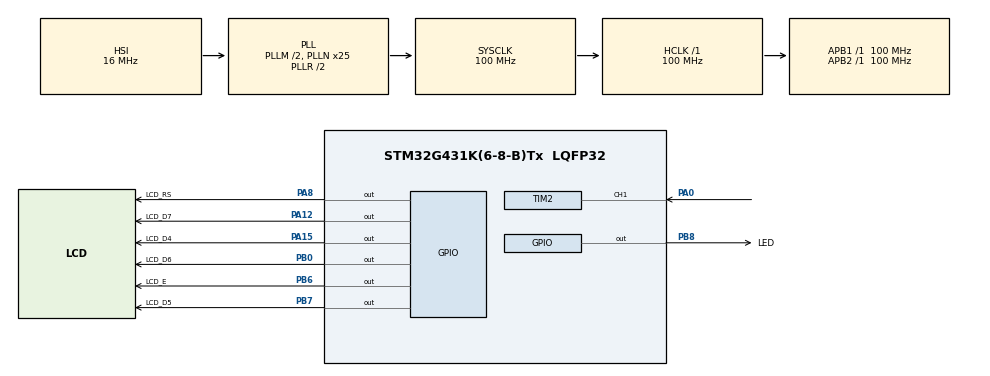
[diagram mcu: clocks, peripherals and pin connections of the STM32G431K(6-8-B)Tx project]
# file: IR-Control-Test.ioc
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Dma.Request0=TIM2_CH1
Dma.TIM2_CH1.0.Direction=DMA_PERIPH_TO_MEMORY
Dma.TIM2_CH1.0.EventEnable=DISABLE
Dma.TIM2_CH1.0.Instance=DMA1_Channel1
Dma.TIM2_CH1.0.MemDataAlignment=DMA_MDATAALIGN_WORD
Dma.TIM2_CH1.0.MemInc=DMA_MINC_ENABLE
Dma.TIM2_CH1.0.Mode=DMA_NORMAL
Dma.TIM2_CH1.0.PeriphDataAlignment=DMA_PDATAALIGN_WORD
Dma.TIM2_CH1.0.PeriphInc=DMA_PINC_DISABLE
Dma.TIM2_CH1.0.Polarity=HAL_DMAMUX_REQ_GEN_RISING
Dma.TIM2_CH1.0.Priority=DMA_PRIORITY_LOW
Dma.TIM2_CH1.0.RequestNumber=1
Dma.TIM2_CH1.0.SignalID=NONE
Dma.TIM2_CH1.0.SyncEnable=DISABLE
Dma.TIM2_CH1.0.SyncPolarity=HAL_DMAMUX_SYNC_NO_EVENT
Dma.TIM2_CH1.0.SyncRequestNumber=1
Dma.TIM2_CH1.0.SyncSignalID=NONE
Mcu.Family=STM32G4
Mcu.Name=STM32G431K(6-8-B)Tx
Mcu.Package=LQFP32
NVIC.DMA1_Channel1_IRQn=true\:0\:0\:false\:false\:true\:false\:true\:true
NVIC.PriorityGroup=NVIC_PRIORITYGROUP_4
NVIC.TIM2_IRQn=true\:0\:0\:false\:false\:true\:true\:true\:true
PA0.Signal=S_TIM2_CH1
PA12.GPIO_Label=LCD_D7
PA12.GPIO_ModeDefaultOutputPP=GPIO_MODE_OUTPUT_PP
PA12.GPIO_PuPd=GPIO_NOPULL
PA12.GPIO_Speed=GPIO_SPEED_FREQ_VERY_HIGH
PA12.PinState=GPIO_PIN_RESET
PA12.Signal=GPIO_Output
PA13.Mode=Serial_Wire
PA13.Signal=SYS_JTMS-SWDIO
PA14.Mode=Serial_Wire
PA14.Signal=SYS_JTCK-SWCLK
PA15.GPIO_Label=LCD_D4
PA15.GPIO_ModeDefaultOutputPP=GPIO_MODE_OUTPUT_PP
PA15.GPIO_PuPd=GPIO_NOPULL
PA15.GPIO_Speed=GPIO_SPEED_FREQ_VERY_HIGH
PA15.PinState=GPIO_PIN_RESET
PA15.Signal=GPIO_Output
PA8.GPIO_Label=LCD_RS
PA8.GPIO_Speed=GPIO_SPEED_FREQ_VERY_HIGH
PA8.Signal=GPIO_Output
PB0.GPIO_Label=LCD_D6
PB0.GPIO_ModeDefaultOutputPP=GPIO_MODE_OUTPUT_PP
PB0.GPIO_PuPd=GPIO_NOPULL
PB0.GPIO_Speed=GPIO_SPEED_FREQ_VERY_HIGH
PB0.PinState=GPIO_PIN_RESET
PB0.Signal=GPIO_Output
PB6.GPIO_Label=LCD_E
PB6.GPIO_ModeDefaultOutputPP=GPIO_MODE_OUTPUT_PP
PB6.GPIO_PuPd=GPIO_NOPULL
PB6.GPIO_Speed=GPIO_SPEED_FREQ_VERY_HIGH
PB6.PinState=GPIO_PIN_RESET
PB6.Signal=GPIO_Output
PB7.GPIO_Label=LCD_D5
PB7.GPIO_ModeDefaultOutputPP=GPIO_MODE_OUTPUT_PP
PB7.GPIO_PuPd=GPIO_NOPULL
PB7.GPIO_Speed=GPIO_SPEED_FREQ_VERY_HIGH
PB7.PinState=GPIO_PIN_RESET
PB7.Signal=GPIO_Output
PB8-BOOT0.GPIO_Label=LED
PB8-BOOT0.Signal=GPIO_Output
ProjectManager.HeapSize=0x200
ProjectManager.StackSize=0x400
ProjectManager.TargetToolchain=STM32CubeIDE
RCC.ADC12Freq_Value=100000000
RCC.AHBFreq_Value=100000000
RCC.APB1Freq_Value=100000000
RCC.APB1TimFreq_Value=100000000
RCC.APB2Freq_Value=100000000
RCC.APB2TimFreq_Value=100000000
RCC.CortexFreq_Value=100000000
RCC.EXTERNAL_CLOCK_VALUE=12288000
RCC.HCLKFreq_Value=100000000
RCC.HSE_VALUE=24000000
RCC.HSI48_VALUE=48000000
RCC.HSI_VALUE=16000000
RCC.LSE_VALUE=32768
RCC.PLLM=RCC_PLLM_DIV2
RCC.PLLN=25
RCC.SYSCLKFreq_VALUE=100000000
RCC.SYSCLKSource=RCC_SYSCLKSOURCE_PLLCLK
RCC.USBFreq_Value=100000000
RCC.VCOOutputFreq_Value=200000000
SH.S_TIM2_CH1.0=TIM2_CH1,Input_Capture1_from_TI1
SH.S_TIM2_CH1.1=TIM2_CH1,TriggerSource_TI1FP1
TIM2.Channel-Input_Capture1_from_TI1=TIM_CHANNEL_1
TIM2.ICFilter_CH1=4
TIM2.ICPolarity_CH1=TIM_INPUTCHANNELPOLARITY_FALLING
TIM2.Prescaler=99
VP_TIM2_VS_ClockSourceINT.Mode=Internal
VP_TIM2_VS_ControllerModeReset.Mode=Reset Mode
board=custom

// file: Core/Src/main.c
/* USER CODE BEGIN Header */
/**
  ******************************************************************************
  * @file           : main.c
  * @brief          : Main program body
  ******************************************************************************
  * @attention
  *
  * Copyright (c) 2024 STMicroelectronics.
  * All rights reserved.
  *
  * This software is licensed under terms that can be found in the LICENSE file
  * in the root directory of this software component.
  * If no LICENSE file comes with this software, it is provided AS-IS.
  *
  ******************************************************************************
  */
/* USER CODE END Header */
#include "main.h"

/* USER CODE BEGIN Includes */
#include <string.h>
#include <stdio.h>

#include "NEC_Decode.h"
#include "lcdDisplay.h"
/* USER CODE END Includes */

TIM_HandleTypeDef htim2;
DMA_HandleTypeDef hdma_tim2_ch1;

/* USER CODE BEGIN PV */
NEC nec;
lcd_t Lcd;

uint8_t flagRec = 0;
uint16_t IRAddress;
uint8_t IRCommand;
/* USER CODE END PV */

void SystemClock_Config(void);
static void MX_GPIO_Init(void);
static void MX_DMA_Init(void);
static void MX_TIM2_Init(void);

/* USER CODE BEGIN 0 */

/* Callbacks */

void HAL_TIM_IC_CaptureCallback(TIM_HandleTypeDef *htim){
	NEC_TIM_IC_CaptureCallback(&nec);
}

void NecDecodeCallback (uint16_t address, uint8_t cmd){
	flagRec = 1;
	HAL_GPIO_WritePin(LED_GPIO_Port, LED_Pin, GPIO_PIN_SET);
	IRAddress = address;
	IRCommand = cmd;
	NEC_Read(&nec);
}

void NecErrorCallback(){
	NEC_Read(&nec);
}

void NecRepeatCallback(){
	flagRec = 1;
	HAL_GPIO_WritePin(LED_GPIO_Port, LED_Pin, GPIO_PIN_SET);
	NEC_Read(&nec);
}

/* Auxiliary Fxns */
void Nec_IC_Start(uint32_t *Arr, uint8_t len){
	HAL_TIM_IC_Start_DMA(&htim2, TIM_CHANNEL_1, Arr, len);
}

void Nec_IC_Stop(){
	HAL_TIM_IC_Stop(&htim2, TIM_CHANNEL_1);
}

/* Init Functions */

void _init_nec(){
	  nec.timingAgcBoundary = 12500;
	  nec.timingBitBoundary = 1687;
	  nec.type = NEC_EXTENDED;

	  nec.NEC_DecodedCallback = NecDecodeCallback;
	  nec.NEC_ErrorCallback = NecErrorCallback;
	  nec.NEC_RepeatCallback = NecRepeatCallback;

	  nec.NEC_InCapt_Start = Nec_IC_Start;
	  nec.NEC_InCapt_Stop = Nec_IC_Stop;

	  NEC_Init(&nec);
	  NEC_Read(&nec);
}

void _init_lcd(){
	Lcd.columns = 16;
	Lcd.rows = 2;
	Lcd.font = LCD_FONT_5X8;
	Lcd.interface = LCD_INTERFACE_4BIT;

	Lcd.gpios[LCD_RS].GPIO = (uint32_t)LCD_RS_GPIO_Port;
	Lcd.gpios[LCD_RS].pin = LCD_RS_Pin;
	Lcd.gpios[LCD_E].GPIO = (uint32_t)LCD_E_GPIO_Port;
	Lcd.gpios[LCD_E].pin = LCD_E_Pin;
	Lcd.gpios[LCD_D4].GPIO = (uint32_t)LCD_D4_GPIO_Port;
	Lcd.gpios[LCD_D4].pin = LCD_D4_Pin;
	Lcd.gpios[LCD_D5].GPIO = (uint32_t)LCD_D5_GPIO_Port;
	Lcd.gpios[LCD_D5].pin = LCD_D5_Pin;
	Lcd.gpios[LCD_D6].GPIO = (uint32_t)LCD_D6_GPIO_Port;
	Lcd.gpios[LCD_D6].pin = LCD_D6_Pin;
	Lcd.gpios[LCD_D7].GPIO = (uint32_t)LCD_D7_GPIO_Port;
	Lcd.gpios[LCD_D7].pin = LCD_D7_Pin;

	lcd_init(&Lcd);
	lcd_send_string_pos(&Lcd, "IR Remote", 0, 0);
}

/* USER CODE END 0 */

int main(void)
{
  /* USER CODE BEGIN 1 */
	char Text[21];
  /* USER CODE END 1 */

  /* MCU Configuration--------------------------------------------------------*/

  /* Reset of all peripherals, Initializes the Flash interface and the Systick. */
  HAL_Init();

  /* Configure the system clock */
  SystemClock_Config();

  /* Initialize all configured peripherals */
  MX_GPIO_Init();
  MX_DMA_Init();
  MX_TIM2_Init();
  /* USER CODE BEGIN 2 */
  _init_lcd();
  _init_nec();

  /* USER CODE END 2 */

  /* Infinite loop */
  /* USER CODE BEGIN WHILE */
  while (1)
  {
	  if (flagRec == 1){
		  flagRec = 0;
		  // TODO Implement LCD Display;
		  sprintf(Text, "A: 0x%04X C: %02d", IRAddress, IRCommand);
		  lcd_send_string_pos(&Lcd, Text, 1, 0);

		  HAL_Delay(50);
		  HAL_GPIO_WritePin(LED_GPIO_Port, LED_Pin, GPIO_PIN_RESET);
	  }
    /* USER CODE END WHILE */

  }
}

void SystemClock_Config(void)
{
  RCC_OscInitTypeDef RCC_OscInitStruct = {0};
  RCC_ClkInitTypeDef RCC_ClkInitStruct = {0};

  /** Configure the main internal regulator output voltage
  */
  HAL_PWREx_ControlVoltageScaling(PWR_REGULATOR_VOLTAGE_SCALE1);

  /** Initializes the RCC Oscillators according to the specified parameters
  * in the RCC_OscInitTypeDef structure.
  */
  RCC_OscInitStruct.OscillatorType = RCC_OSCILLATORTYPE_HSI;
  RCC_OscInitStruct.HSIState = RCC_HSI_ON;
  RCC_OscInitStruct.HSICalibrationValue = RCC_HSICALIBRATION_DEFAULT;
  RCC_OscInitStruct.PLL.PLLState = RCC_PLL_ON;
  RCC_OscInitStruct.PLL.PLLSource = RCC_PLLSOURCE_HSI;
  RCC_OscInitStruct.PLL.PLLM = RCC_PLLM_DIV2;
  RCC_OscInitStruct.PLL.PLLN = 25;
  RCC_OscInitStruct.PLL.PLLP = RCC_PLLP_DIV2;
  RCC_OscInitStruct.PLL.PLLQ = RCC_PLLQ_DIV2;
  RCC_OscInitStruct.PLL.PLLR = RCC_PLLR_DIV2;
  if (HAL_RCC_OscConfig(&RCC_OscInitStruct) != HAL_OK)
  {
    Error_Handler();
  }

  /** Initializes the CPU, AHB and APB buses clocks
  */
  RCC_ClkInitStruct.ClockType = RCC_CLOCKTYPE_HCLK|RCC_CLOCKTYPE_SYSCLK
                              |RCC_CLOCKTYPE_PCLK1|RCC_CLOCKTYPE_PCLK2;
  RCC_ClkInitStruct.SYSCLKSource = RCC_SYSCLKSOURCE_PLLCLK;
  RCC_ClkInitStruct.AHBCLKDivider = RCC_SYSCLK_DIV1;
  RCC_ClkInitStruct.APB1CLKDivider = RCC_HCLK_DIV1;
  RCC_ClkInitStruct.APB2CLKDivider = RCC_HCLK_DIV1;

  if (HAL_RCC_ClockConfig(&RCC_ClkInitStruct, FLASH_LATENCY_3) != HAL_OK)
  {
    Error_Handler();
  }
}

static void MX_TIM2_Init(void)
{

  TIM_ClockConfigTypeDef sClockSourceConfig = {0};
  TIM_SlaveConfigTypeDef sSlaveConfig = {0};
  TIM_MasterConfigTypeDef sMasterConfig = {0};
  TIM_IC_InitTypeDef sConfigIC = {0};

  htim2.Instance = TIM2;
  htim2.Init.Prescaler = 99;
  htim2.Init.CounterMode = TIM_COUNTERMODE_UP;
  htim2.Init.Period = 4.294967295E9;
  htim2.Init.ClockDivision = TIM_CLOCKDIVISION_DIV1;
  htim2.Init.AutoReloadPreload = TIM_AUTORELOAD_PRELOAD_DISABLE;
  if (HAL_TIM_Base_Init(&htim2) != HAL_OK)
  {
    Error_Handler();
  }
  sClockSourceConfig.ClockSource = TIM_CLOCKSOURCE_INTERNAL;
  if (HAL_TIM_ConfigClockSource(&htim2, &sClockSourceConfig) != HAL_OK)
  {
    Error_Handler();
  }
  if (HAL_TIM_IC_Init(&htim2) != HAL_OK)
  {
    Error_Handler();
  }
  sSlaveConfig.SlaveMode = TIM_SLAVEMODE_RESET;
  sSlaveConfig.InputTrigger = TIM_TS_TI1FP1;
  sSlaveConfig.TriggerPolarity = TIM_INPUTCHANNELPOLARITY_FALLING;
  sSlaveConfig.TriggerFilter = 0;
  if (HAL_TIM_SlaveConfigSynchro(&htim2, &sSlaveConfig) != HAL_OK)
  {
    Error_Handler();
  }
  sMasterConfig.MasterOutputTrigger = TIM_TRGO_RESET;
  sMasterConfig.MasterSlaveMode = TIM_MASTERSLAVEMODE_DISABLE;
  if (HAL_TIMEx_MasterConfigSynchronization(&htim2, &sMasterConfig) != HAL_OK)
  {
    Error_Handler();
  }
  sConfigIC.ICPolarity = TIM_INPUTCHANNELPOLARITY_FALLING;
  sConfigIC.ICSelection = TIM_ICSELECTION_DIRECTTI;
  sConfigIC.ICPrescaler = TIM_ICPSC_DIV1;
  sConfigIC.ICFilter = 4;
  if (HAL_TIM_IC_ConfigChannel(&htim2, &sConfigIC, TIM_CHANNEL_1) != HAL_OK)
  {
    Error_Handler();
  }

}

static void MX_DMA_Init(void)
{

  /* DMA controller clock enable */
  __HAL_RCC_DMAMUX1_CLK_ENABLE();
  __HAL_RCC_DMA1_CLK_ENABLE();

  /* DMA interrupt init */
  /* DMA1_Channel1_IRQn interrupt configuration */
  HAL_NVIC_SetPriority(DMA1_Channel1_IRQn, 0, 0);
  HAL_NVIC_EnableIRQ(DMA1_Channel1_IRQn);

}

static void MX_GPIO_Init(void)
{
  GPIO_InitTypeDef GPIO_InitStruct = {0};

  /* GPIO Ports Clock Enable */
  __HAL_RCC_GPIOA_CLK_ENABLE();
  __HAL_RCC_GPIOB_CLK_ENABLE();

  /*Configure GPIO pin Output Level */
  HAL_GPIO_WritePin(GPIOB, LCD_D6_Pin|LCD_E_Pin|LCD_D5_Pin|LED_Pin, GPIO_PIN_RESET);

  /*Configure GPIO pin Output Level */
  HAL_GPIO_WritePin(GPIOA, LCD_RS_Pin|LCD_D7_Pin|LCD_D4_Pin, GPIO_PIN_RESET);

  /*Configure GPIO pins : LCD_D6_Pin LCD_E_Pin LCD_D5_Pin */
  GPIO_InitStruct.Pin = LCD_D6_Pin|LCD_E_Pin|LCD_D5_Pin;
  GPIO_InitStruct.Mode = GPIO_MODE_OUTPUT_PP;
  GPIO_InitStruct.Pull = GPIO_NOPULL;
  GPIO_InitStruct.Speed = GPIO_SPEED_FREQ_VERY_HIGH;
  HAL_GPIO_Init(GPIOB, &GPIO_InitStruct);

  /*Configure GPIO pins : LCD_RS_Pin LCD_D7_Pin LCD_D4_Pin */
  GPIO_InitStruct.Pin = LCD_RS_Pin|LCD_D7_Pin|LCD_D4_Pin;
  GPIO_InitStruct.Mode = GPIO_MODE_OUTPUT_PP;
  GPIO_InitStruct.Pull = GPIO_NOPULL;
  GPIO_InitStruct.Speed = GPIO_SPEED_FREQ_VERY_HIGH;
  HAL_GPIO_Init(GPIOA, &GPIO_InitStruct);

  /*Configure GPIO pin : LED_Pin */
  GPIO_InitStruct.Pin = LED_Pin;
  GPIO_InitStruct.Mode = GPIO_MODE_OUTPUT_PP;
  GPIO_InitStruct.Pull = GPIO_NOPULL;
  GPIO_InitStruct.Speed = GPIO_SPEED_FREQ_LOW;
  HAL_GPIO_Init(LED_GPIO_Port, &GPIO_InitStruct);

}

void Error_Handler(void)
{
  __disable_irq();
  while (1)
  {
  }
}
